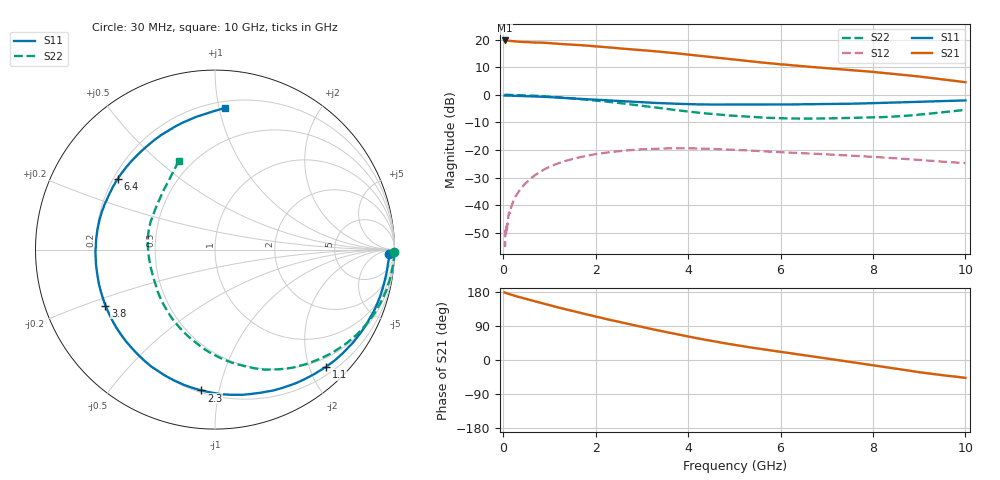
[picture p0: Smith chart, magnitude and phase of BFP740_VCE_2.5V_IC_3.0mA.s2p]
! Infineon Technologies  Discrete & RF Semiconductors
! BFP740
! VCE =  2.5 V,  IC =  3.0 mA
! Common Emitter S-Parameters:  Jan 2016
# GHz  S  MA  R  50
!  f  S11  S21  S12  S22
! GHz  MAG  ANG  MAG  ANG  MAG  ANG  MAG  ANG
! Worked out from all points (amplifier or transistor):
!   229 points, 30 MHz to 10 GHz, reference 50 ohm
!   highest |S21| = 19.7 dB at 30 MHz (marker M1)
!   |S21| within 3 dB of that: start of sweep to 2.616 GHz
!   unconditionally stable (mu >= 1): 8.234 GHz to end of sweep
!   at 280 MHz: K = 0.06, MSG = 27.9 dB, |S12| = -36.5 dB
!   at 1.78 GHz: K = 0.19, MSG = 20.0 dB, |S12| = -22.2 dB
!   at 10 GHz: K = 1.25, MAG = 11.7 dB, |S12| = -24.8 dB
!   S11 on the Smith chart (normalised r, x): 30 MHz: 42, -31; 1.1 GHz: 0.33, -2.28; 2.3 GHz: 0.21, -0.89; 3.8 GHz: 0.20, -0.23; 6.4 GHz: 0.22, +0.31; 10 GHz: 0.25, +1.04
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0.03  0.9697 -1.3  9.67 178.0  0.0021 78.8  0.9994 -0.9
0.04  0.9698 -1.8  9.508 177.5  0.0018 79.3  0.9994 -1.2
0.05  0.9714 -2.2  9.652 177.4  0.0035 68.5  0.9996 -1.7
0.06  0.9692 -2.6  9.627 176.7  0.0029 120.5  0.9985 -1.8
0.07  0.9701 -3.1  9.592 176.3  0.0043 100.6  0.9992 -2.2
0.11  0.9669 -4.9  9.612 174.5  0.0064 90.8  0.9975 -3.5
0.28  0.9596 -12.2  9.276 168.3  0.0149 82.2  0.9898 -8.5
0.8  0.9269 -34.2  8.852 151.2  0.0403 66.7  0.9501 -23.7
1.1  0.8997 -46.6  8.508 141.6  0.0538 58.2  0.9149 -32.2
1.3  0.879 -54.9  8.299 135.2  0.0616 52.7  0.8878 -37.8
1.7  0.8393 -71.4  7.927 123.2  0.0752 42.7  0.8317 -48.4
2.3  0.7884 -95.5  7.226 106.1  0.0912 28.4  0.7417 -64.2
2.8  0.748 -114.9  6.665 92.6  0.0997 17.7  0.663 -76.8
3.4  0.7061 -138.0  6.02 76.9  0.106 5.6  0.5752 -92.7
3.8  0.6857 -152.9  5.594 66.9  0.1071 -2.0  0.5199 -103.7
4.4  0.668 -173.2  4.947 52.8  0.1053 -12.0  0.4586 -119.9
5.1  0.6636 167.9  4.271 38.0  0.0995 -21.6  0.41 -136.8
6.4  0.6704 143.8  3.343 14.6  0.0879 -33.8  0.3714 -166.2
6.8  0.6752 136.8  3.134 7.6  0.0849 -37.0  0.3713 -175.7
8.4  0.7208 107.9  2.421 -21.3  0.0714 -46.6  0.4009 146.4
9  0.7478 97.8  2.145 -32.2  0.066 -49.0  0.4372 130.9
10  0.791 86.0  1.694 -47.1  0.0577 -48.7  0.533 112.3
